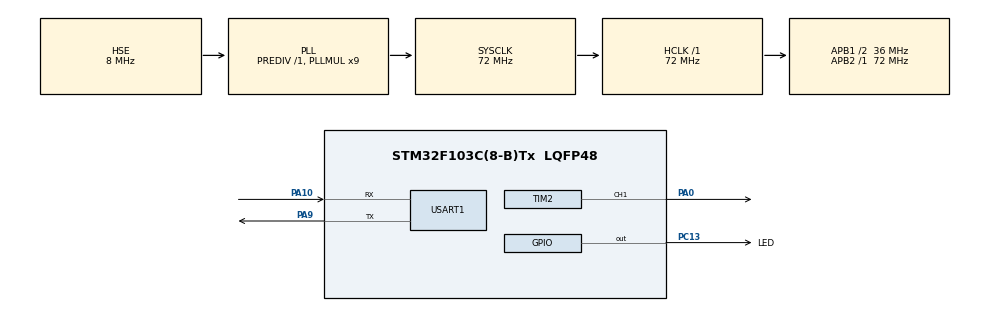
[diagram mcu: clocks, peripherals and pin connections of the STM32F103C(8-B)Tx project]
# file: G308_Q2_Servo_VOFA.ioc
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Mcu.Family=STM32F1
Mcu.Name=STM32F103C(8-B)Tx
Mcu.Package=LQFP48
NVIC.PriorityGroup=NVIC_PRIORITYGROUP_4
NVIC.USART1_IRQn=true\:0\:0\:false\:false\:true\:true\:true\:true
PA0-WKUP.Signal=S_TIM2_CH1_ETR
PA10.Mode=Asynchronous
PA10.Signal=USART1_RX
PA13.Mode=Serial_Wire
PA13.Signal=SYS_JTMS-SWDIO
PA14.Mode=Serial_Wire
PA14.Signal=SYS_JTCK-SWCLK
PA9.Mode=Asynchronous
PA9.Signal=USART1_TX
PC13-TAMPER-RTC.GPIO_Label=LED
PC13-TAMPER-RTC.PinState=GPIO_PIN_SET
PC13-TAMPER-RTC.Signal=GPIO_Output
PD0-OSC_IN.Mode=HSE-External-Oscillator
PD0-OSC_IN.Signal=RCC_OSC_IN
PD1-OSC_OUT.Mode=HSE-External-Oscillator
PD1-OSC_OUT.Signal=RCC_OSC_OUT
ProjectManager.HeapSize=0x200
ProjectManager.StackSize=0x400
ProjectManager.TargetToolchain=CMake
RCC.AHBFreq_Value=72000000
RCC.APB1CLKDivider=RCC_HCLK_DIV2
RCC.APB1Freq_Value=36000000
RCC.APB1TimFreq_Value=72000000
RCC.APB2Freq_Value=72000000
RCC.APB2TimFreq_Value=72000000
RCC.HCLKFreq_Value=72000000
RCC.PLLMUL=RCC_PLL_MUL9
RCC.PLLSourceVirtual=RCC_PLLSOURCE_HSE
RCC.SYSCLKFreq_VALUE=72000000
RCC.SYSCLKSource=RCC_SYSCLKSOURCE_PLLCLK
RCC.USBFreq_Value=72000000
SH.S_TIM2_CH1_ETR.0=TIM2_CH1,PWM Generation1 CH1
TIM2.Channel-PWM\ Generation1\ CH1=TIM_CHANNEL_1
TIM2.Period=19999
TIM2.Prescaler=71
TIM2.Pulse-PWM\ Generation1\ CH1=1500
USART1.VirtualMode=VM_ASYNC
VP_TIM2_VS_ClockSourceINT.Mode=Internal
board=custom

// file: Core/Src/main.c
/* USER CODE BEGIN Header */
/**
  ******************************************************************************
  * @file           : main.c
  * @brief          : Main program body
  ******************************************************************************
  * @attention
  *
  * Copyright (c) 2026 STMicroelectronics.
  * All rights reserved.
  *
  * This software is licensed under terms that can be found in the LICENSE file
  * in the root directory of this software component.
  * If no LICENSE file comes with this software, it is provided AS-IS.
  *
  ******************************************************************************
  */
/* USER CODE END Header */
#include "main.h"
#include "tim.h"
#include "usart.h"
#include "gpio.h"

/* USER CODE BEGIN Includes */
#include <stdlib.h>
#include <string.h>
/* USER CODE END Includes */

/* USER CODE BEGIN PD */
#define SERVO_MIN_ANGLE_DEG  0.0f
#define SERVO_MAX_ANGLE_DEG  180.0f
#define SERVO_MIN_PULSE_US   1000U
#define SERVO_MAX_PULSE_US   2000U
/* USER CODE END PD */

/* USER CODE BEGIN PV */
static float servo_current_angle_deg = 90.0f;
static uint16_t servo_pulse_us = 1500U;
static uint8_t uart_rx_byte;
static char uart_rx_buffer[16];
static volatile uint8_t uart_rx_index = 0U;
static volatile uint8_t uart_command_ready = 0U;
static uint32_t vofa_last_send_tick = 0U;
/* USER CODE END PV */

void SystemClock_Config(void);
/* USER CODE BEGIN PFP */
static void Servo_SetAngle(float angle_deg);
static void VOFA_SendData(void);
/* USER CODE END PFP */

int main(void)
{

  /* MCU Configuration--------------------------------------------------------*/

  /* Reset of all peripherals, Initializes the Flash interface and the Systick. */
  HAL_Init();

  /* Configure the system clock */
  SystemClock_Config();

  /* Initialize all configured peripherals */
  MX_GPIO_Init();
  MX_TIM2_Init();
  MX_USART1_UART_Init();
  /* USER CODE BEGIN 2 */
if (HAL_TIM_PWM_Start(&htim2, TIM_CHANNEL_1) != HAL_OK)
{
  Error_Handler();
}

Servo_SetAngle(90.0f);
if (HAL_UART_Receive_IT(&huart1, &uart_rx_byte, 1U) != HAL_OK)
{
  Error_Handler();
}
  /* USER CODE END 2 */

  /* Infinite loop */
  while (1)
  {

    /* USER CODE BEGIN 3 */
    if (uart_command_ready != 0U)
{
  char *number_text = uart_rx_buffer;
  char *end_ptr;

  if ((number_text[0] == 'A') || (number_text[0] == 'a'))
  {
    number_text++;
  }

  float target_angle = strtof(number_text, &end_ptr);

  if (end_ptr != number_text)
  {
    Servo_SetAngle(target_angle);
  }

  uart_command_ready = 0U;
}
if ((HAL_GetTick() - vofa_last_send_tick) >= 50U)
{
  vofa_last_send_tick = HAL_GetTick();
  VOFA_SendData();
}
  }
  /* USER CODE END 3 */
}

void SystemClock_Config(void)
{
  RCC_OscInitTypeDef RCC_OscInitStruct = {0};
  RCC_ClkInitTypeDef RCC_ClkInitStruct = {0};

  /** Initializes the RCC Oscillators according to the specified parameters
  * in the RCC_OscInitTypeDef structure.
  */
  RCC_OscInitStruct.OscillatorType = RCC_OSCILLATORTYPE_HSE;
  RCC_OscInitStruct.HSEState = RCC_HSE_ON;
  RCC_OscInitStruct.HSEPredivValue = RCC_HSE_PREDIV_DIV1;
  RCC_OscInitStruct.HSIState = RCC_HSI_ON;
  RCC_OscInitStruct.PLL.PLLState = RCC_PLL_ON;
  RCC_OscInitStruct.PLL.PLLSource = RCC_PLLSOURCE_HSE;
  RCC_OscInitStruct.PLL.PLLMUL = RCC_PLL_MUL9;
  if (HAL_RCC_OscConfig(&RCC_OscInitStruct) != HAL_OK)
  {
    Error_Handler();
  }

  /** Initializes the CPU, AHB and APB buses clocks
  */
  RCC_ClkInitStruct.ClockType = RCC_CLOCKTYPE_HCLK|RCC_CLOCKTYPE_SYSCLK
                              |RCC_CLOCKTYPE_PCLK1|RCC_CLOCKTYPE_PCLK2;
  RCC_ClkInitStruct.SYSCLKSource = RCC_SYSCLKSOURCE_PLLCLK;
  RCC_ClkInitStruct.AHBCLKDivider = RCC_SYSCLK_DIV1;
  RCC_ClkInitStruct.APB1CLKDivider = RCC_HCLK_DIV2;
  RCC_ClkInitStruct.APB2CLKDivider = RCC_HCLK_DIV1;

  if (HAL_RCC_ClockConfig(&RCC_ClkInitStruct, FLASH_LATENCY_2) != HAL_OK)
  {
    Error_Handler();
  }
}

/* USER CODE BEGIN 4 */
static void Servo_SetAngle(float angle_deg)
{
  if (angle_deg < SERVO_MIN_ANGLE_DEG)
  {
    angle_deg = SERVO_MIN_ANGLE_DEG;
  }
  else if (angle_deg > SERVO_MAX_ANGLE_DEG)
  {
    angle_deg = SERVO_MAX_ANGLE_DEG;
  }

  servo_current_angle_deg = angle_deg;

  servo_pulse_us =
      SERVO_MIN_PULSE_US +
      (uint16_t)((angle_deg / 180.0f) *
      (SERVO_MAX_PULSE_US - SERVO_MIN_PULSE_US) + 0.5f);

  __HAL_TIM_SET_COMPARE(&htim2, TIM_CHANNEL_1, servo_pulse_us);
}

void HAL_UART_RxCpltCallback(UART_HandleTypeDef *huart)
{
  if (huart->Instance == USART1)
  {
    if (uart_command_ready == 0U)
    {
      if (uart_rx_byte == '\n')
      {
        uart_rx_buffer[uart_rx_index] = '\0';
        uart_rx_index = 0U;
        uart_command_ready = 1U;
      }
      else if (uart_rx_byte != '\r')
      {
        if (uart_rx_index < (sizeof(uart_rx_buffer) - 1U))
        {
          uart_rx_buffer[uart_rx_index++] = (char)uart_rx_byte;
        }
        else
        {
          uart_rx_index = 0U;
        }
      }
    }

    HAL_UART_Receive_IT(&huart1, &uart_rx_byte, 1U);
  }
}

static void VOFA_SendData(void)
{
  uint8_t frame[12];
  float duty_percent =
      ((float)servo_pulse_us / 20000.0f) * 100.0f;

  memcpy(&frame[0], &servo_current_angle_deg, sizeof(float));
  memcpy(&frame[4], &duty_percent, sizeof(float));

  frame[8]  = 0x00;
  frame[9]  = 0x00;
  frame[10] = 0x80;
  frame[11] = 0x7F;

  (void)HAL_UART_Transmit(&huart1, frame, sizeof(frame), 20U);
}
/* USER CODE END 4 */

void Error_Handler(void)
{
  __disable_irq();
  while (1)
  {
  }
}
